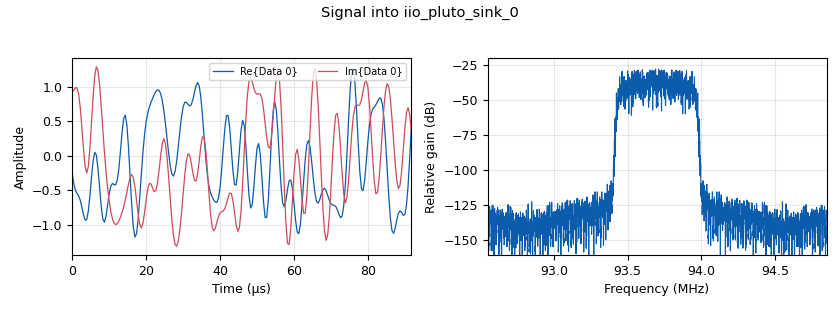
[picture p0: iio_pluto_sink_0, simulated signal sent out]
options:
  parameters:
    category: Custom
    generate_options: no_gui
    id: top_block
    output_language: python
    realtime_scheduling: '1'
  states: {}

blocks:
- name: fm_station
  id: variable
  parameters:
    value: '93700000'
  states: {}
- name: pluto_ctx
  id: variable
  parameters:
    value: '"ip:192.168.2.1"'
  states: {}
- name: samp_rate
  id: variable
  parameters:
    value: '2304000'
  states: {}
- name: analog_nbfm_tx_0
  id: analog_nbfm_tx
  parameters:
    audio_rate: '48000'
    fh: '-1.0'
    max_dev: 75e3
    quad_rate: int(samp_rate / 8)
    tau: '75e-6'
  states: {}
- name: analog_sig_source_x_0
  id: analog_sig_source_x
  parameters:
    amp: '1'
    freq: '1000'
    offset: '0'
    phase: '0'
    samp_rate: '48000'
    type: float
    waveform: analog.GR_COS_WAVE
  states: {}
- name: blocks_add_xx_0
  id: blocks_add_xx
  parameters:
    type: float
  states: {}
- name: blocks_wavfile_source_0
  id: blocks_wavfile_source
  parameters:
    file: wav_file
    nchan: '2'
    repeat: 'True'
  states: {state: disabled}
- name: iio_pluto_sink_0
  id: iio_pluto_sink
  parameters:
    attenuation1: '0'
    auto_filter: 'True'
    bandwidth: '200000'
    buffer_size: '32768'
    cyclic: 'False'
    frequency: fm_station
    samplerate: samp_rate
    uri: pluto_ctx
  states: {}
- name: interpolation
  id: parameter
  parameters:
    label: Interpolation
    type: intx
    value: '2'
  states: {}
- name: pluto_sink_0
  id: pluto_sink
  parameters:
    attenuation: '10.0'
    auto_filter: 'True'
    bandwidth: '20000'
    buffer_size: '0x8000'
    cyclic: 'False'
    filter: ''
    frequency: fm_station
    interpolation: '2'
    samplerate: samp_rate
    uri: ''
  states: {state: disabled}
- name: rational_resampler_xxx_0
  id: rational_resampler_xxx
  parameters:
    decim: '1'
    interp: int(8 / interpolation)
    taps: ''
    type: ccc
  states: {}
- name: wav_file
  id: parameter
  parameters:
    label: WAV File
    value: /home/paul/Epoq.wav
  states: {state: disabled}

connections:
- [analog_nbfm_tx_0, '0', rational_resampler_xxx_0, '0']
- [analog_sig_source_x_0, '0', blocks_add_xx_0, '0']
- [analog_sig_source_x_0, '0', blocks_add_xx_0, '1']
- [blocks_add_xx_0, '0', analog_nbfm_tx_0, '0']
- [blocks_wavfile_source_0, '0', blocks_add_xx_0, '0']
- [blocks_wavfile_source_0, '1', blocks_add_xx_0, '1']
- [rational_resampler_xxx_0, '0', iio_pluto_sink_0, '0']
- [rational_resampler_xxx_0, '0', pluto_sink_0, '0']

metadata:
  file_format: 1
